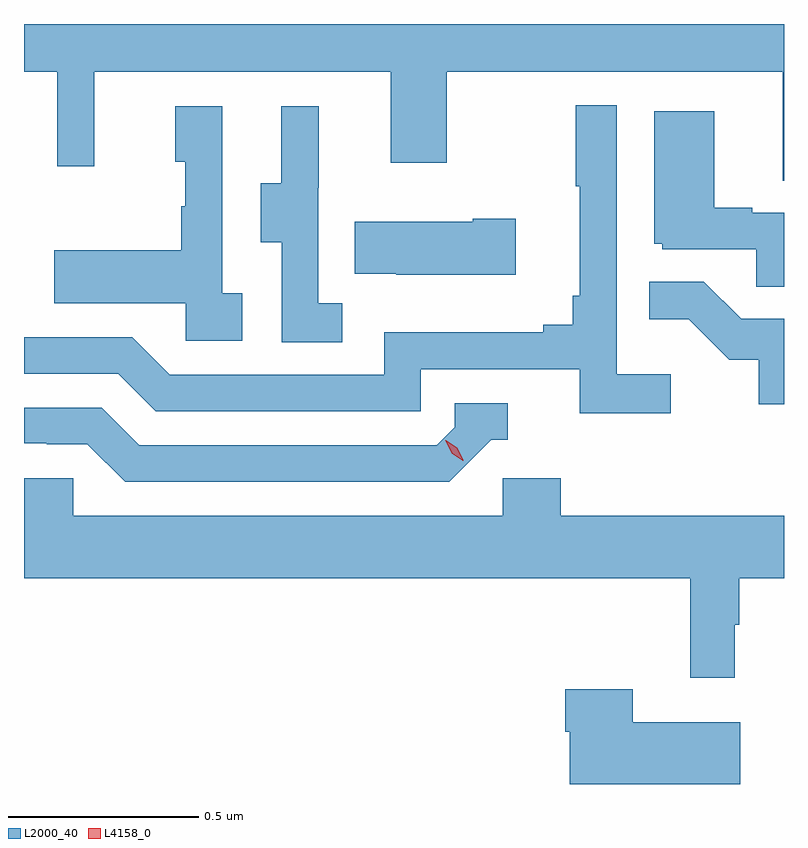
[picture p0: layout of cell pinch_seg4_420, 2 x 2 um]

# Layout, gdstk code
import gdstk
lib = gdstk.Library(unit=1e-6, precision=1e-09)
def P(c, l, *ps):  # polygons
    for p in ps: c.add(gdstk.Polygon(p, *l))
L2000_40 = (2000, 40)
L4158_0 = (4158, 0)

pinch_seg4_420 = lib.new_cell('pinch_seg4_420')
P(pinch_seg4_420, L2000_40, [(991.082,771.638),(989.082,771.638),(989.082,771.512),(989.169,771.512),(989.169,771.264),(989.267,771.264),(989.267,771.512),(990.047,771.512),(990.047,771.273),(990.195,771.273),(990.195,771.512),(991.079,771.512),(991.079,771.226),(991.082,771.226)],
  [(990.784,770.716),(990.642,770.716),(990.642,771.424),(990.534,771.424),(990.534,771.211),(990.545,771.211),(990.545,770.923),(990.526,770.923),(990.526,770.846),(990.449,770.846),(990.449,770.827),(990.03,770.827),(990.03,770.715),(989.466,770.715),(989.367,770.814),(989.082,770.814),(989.082,770.718),(989.33,770.718),(989.429,770.619),(990.126,770.619),(990.126,770.73),(990.545,770.73),(990.545,770.614),(990.784,770.614)],
  [(989.656,770.93),(989.604,770.93),(989.604,771.421),(989.48,771.421),(989.48,771.276),(989.506,771.276),(989.506,771.158),(989.496,771.158),(989.496,771.043),(989.161,771.043),(989.161,770.903),(989.508,770.903),(989.508,770.805),(989.656,770.805)],
  [(989.92,770.903),(989.856,770.903),(989.856,771.207),(989.858,771.207),(989.858,771.421),(989.759,771.421),(989.759,771.219),(989.705,771.219),(989.705,771.064),(989.76,771.064),(989.76,770.8),(989.92,770.8)],
  [(991.082,771.141),(990.998,771.141),(990.998,771.154),(990.898,771.154),(990.898,771.409),(990.74,771.409),(990.74,771.06),(990.762,771.06),(990.762,771.045),(991.009,771.045),(991.009,770.947),(991.082,770.947)],
  [(990.376,771.126),(990.263,771.126),(990.263,771.118),(989.953,771.118),(989.953,770.981),(990.061,770.981),(990.061,770.978),(990.376,770.978)],
  [(991.082,770.862),(990.969,770.862),(990.871,770.96),(990.727,770.96),(990.727,770.861),(990.831,770.861),(990.938,770.754),(991.015,770.754),(991.015,770.637),(991.082,770.637)],
  [(990.312,770.544),(990.355,770.544),(990.355,770.64),(990.216,770.64),(990.216,770.577),(990.168,770.529),(989.385,770.529),(989.286,770.628),(989.082,770.628),(989.082,770.535),(989.142,770.535),(989.142,770.532),(989.249,770.532),(989.348,770.433),(990.201,770.433)],
  [(990.952,770.057),(990.964,770.057),(990.964,770.18),(991.082,770.18),(991.082,770.344),(990.494,770.344),(990.494,770.442),(990.342,770.442),(990.342,770.344),(989.211,770.344),(989.211,770.442),(989.082,770.442),(989.082,770.18),(990.835,770.18),(990.835,769.917),(990.952,769.917)],
  [(990.967,769.801),(990.684,769.801),(990.684,769.888),(990.506,769.888),(990.506,769.775),(990.518,769.775),(990.518,769.638),(990.967,769.638)])
P(pinch_seg4_420, L4158_0, [(990.237,770.489),(990.207,770.509),(990.191,770.542),(990.191,770.543),(990.192,770.543),(990.222,770.523),(990.238,770.49),(990.238,770.489)])

lib.write_gds('pinch_seg4_420.gds')
